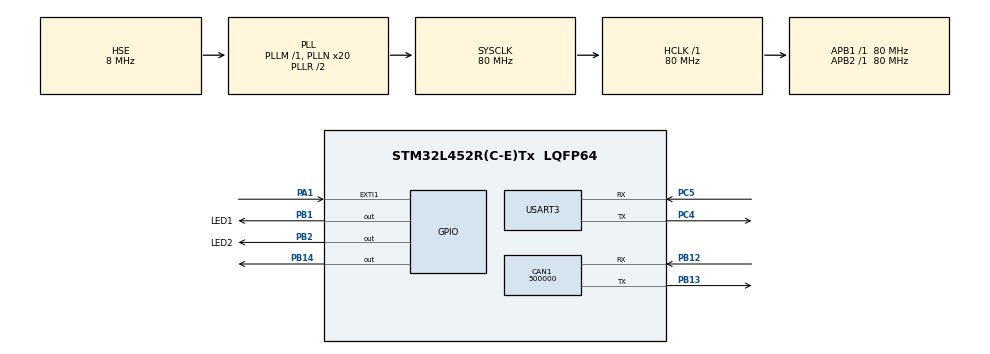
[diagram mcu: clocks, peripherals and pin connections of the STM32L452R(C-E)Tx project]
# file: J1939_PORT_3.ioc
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Mcu.Family=STM32L4
NVIC.USART3_IRQn=true\:0\:0\:false\:false\:true\:true\:true
RCC.MSI_VALUE=4000000
RCC.PLLSourceVirtual=RCC_PLLSOURCE_HSE
NVIC.CAN1_RX1_IRQn=true\:0\:0\:false\:false\:true\:true\:true
RCC.CortexFreq_Value=80000000
PA13\ (JTMS/SWDIO).Mode=Serial_Wire
NVIC.TIM6_DAC_IRQn=true\:0\:0\:false\:false\:true\:true\:true
PH0-OSC_IN\ (PH0).Signal=RCC_OSC_IN
CAN1.CalculateBaudRate=500000
TIM6.Prescaler=8000-1
PC4.Signal=USART3_TX
VP_TIM6_VS_ClockSourceINT.Mode=Enable_Timer
VP_TIM16_VS_ClockSourceINT.Mode=Enable_Timer
PC5.Mode=Asynchronous
PB13.Signal=CAN1_TX
PH1-OSC_OUT\ (PH1).Signal=RCC_OSC_OUT
RCC.SYSCLKSource=RCC_SYSCLKSOURCE_PLLCLK
ProjectManager.StackSize=0x400
USART3.VirtualMode-Asynchronous=VM_ASYNC
PA14\ (JTCK/SWCLK).Signal=SYS_JTCK-SWCLK
NVIC.EXTI1_IRQn=true\:0\:0\:false\:false\:true\:true\:true
CAN1.BS2=CAN_BS2_3TQ
CAN1.BS1=CAN_BS1_6TQ
ProjectManager.TargetToolchain=STM32CubeIDE
NVIC.CAN1_TX_IRQn=true\:0\:0\:false\:false\:true\:true\:true
RCC.HCLKFreq_Value=80000000
RCC.APB2TimFreq_Value=80000000
RCC.USBFreq_Value=32000000
NVIC.CAN1_SCE_IRQn=true\:0\:0\:false\:false\:true\:true\:true
RCC.LSE_VALUE=32768
PA1.Signal=GPXTI1
RCC.AHBFreq_Value=80000000
PB14.Signal=GPIO_Output
PH1-OSC_OUT\ (PH1).Mode=HSE-External-Oscillator
RCC.HSE_VALUE=8000000
PB2.Signal=GPIO_Output
board=custom
RCC.VCOOutputFreq_Value=160000000
RCC.APB2Freq_Value=80000000
PB1.GPIO_Label=LED1
RCC.ADCFreq_Value=32000000
PA14\ (JTCK/SWCLK).Mode=Serial_Wire
TIM6.Period=1000-1
Mcu.Name=STM32L452R(C-E)Tx
RCC.SYSCLKFreq_VALUE=80000000
Mcu.Package=LQFP64
PB1.Signal=GPIO_Output
PB12.Mode=CAN_Activate
PB2.GPIO_Label=LED2
ProjectManager.HeapSize=0x200
RCC.HSI_VALUE=16000000
NVIC.TIM1_UP_TIM16_IRQn=true\:0\:0\:false\:false\:true\:true\:true
NVIC.PriorityGroup=NVIC_PRIORITYGROUP_4
RCC.PLLN=20
RCC.APB1TimFreq_Value=80000000
PC5.Signal=USART3_RX
PB13.Mode=CAN_Activate
TIM16.Prescaler=12-1 
RCC.APB1Freq_Value=80000000
CAN1.CalculateTimeBit=2000.00
PH0-OSC_IN\ (PH0).Mode=HSE-External-Oscillator
PB12.Signal=CAN1_RX
PC4.Mode=Asynchronous
NVIC.CAN1_RX0_IRQn=true\:0\:0\:false\:false\:true\:true\:true
RCC.HSI48_VALUE=48000000
PA13\ (JTMS/SWDIO).Signal=SYS_JTMS-SWDIO
CAN1.CalculateTimeQuantum=200.0

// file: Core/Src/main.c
/* USER CODE BEGIN Header */
/**
 ******************************************************************************
 * @file           : main.c
 * @brief          : Main program body
 ******************************************************************************
 * @attention
 *
 * <h2><center>&copy; Copyright (c) 2021 STMicroelectronics.
 * All rights reserved.</center></h2>
 *
 * This software component is licensed by ST under BSD 3-Clause license,
 * the "License"; You may not use this file except in compliance with the
 * License. You may obtain a copy of the License at:
 *                        opensource.org/licenses/BSD-3-Clause
 *
 ******************************************************************************
 */
/* USER CODE END Header */
#include "main.h"

/* USER CODE BEGIN Includes */
#include "J1939.H"
#include "stdlib.h"
#include "J1939_Config.H"
#include <stdint.h>
#include <stdlib.h>
/* USER CODE END Includes */

/* USER CODE BEGIN PTD */
#define BCU

/* USER CODE END PTD */

CAN_HandleTypeDef hcan1;

TIM_HandleTypeDef htim6;
TIM_HandleTypeDef htim16;

UART_HandleTypeDef huart3;

/* USER CODE BEGIN PV */
uint8_t response_data[8];
char uart_buf[50];
int uart_buf_len;
uint16_t timer_val;
uint16_t ran;
struct Key_Info Key_Infovar;
struct Microcontroller_Status Microcontroller_Statusvar;
uint8_t flag1=1;
uint8_t flag2=1;
uint8_t cnt1=0;
uint8_t count=0;
J1939_MESSAGE Message;

/* USER CODE END PV */

void SystemClock_Config(void);
static void MX_GPIO_Init(void);
static void MX_CAN1_Init(void);
static void MX_TIM6_Init(void);
static void MX_USART3_UART_Init(void);
static void MX_TIM16_Init(void);
/* USER CODE BEGIN PFP */
void dataUPFun();

/* USER CODE END PFP */

/* USER CODE BEGIN 0 */
#ifdef BCU
void sendMsg_KEYINFO()
{

	J1939_MESSAGE _msgKEYINFO;
	//_msgKEYINFO=*Msg;

	//uint8_t buf[]="2";
	_msgKEYINFO.Mxe.DataPage = 0;
	_msgKEYINFO.Mxe.Priority = 0x01;
	_msgKEYINFO.Mxe.DestinationAddress = 0x33;//changed from 33 to 31
	_msgKEYINFO.Mxe.DataLength = 8;
	_msgKEYINFO.Mxe.PDUFormat = 0xf1;
	_msgKEYINFO.Mxe.SourceAddress = 0x33;

		_msgKEYINFO.Mxe.Data[0] = 0;
		_msgKEYINFO.Mxe.Data[1] = 0;
		_msgKEYINFO.Mxe.Data[2] = 0;
		_msgKEYINFO.Mxe.Data[3] = 0;
		_msgKEYINFO.Mxe.Data[4] = 0;
		_msgKEYINFO.Mxe.Data[5] = 0;
		_msgKEYINFO.Mxe.Data[6] = 0;
		_msgKEYINFO.Mxe.Data[7] = 'k';

	//J1939_TP_TX_Message(0xf133, 0xff, buf,1);
	while (J1939_Send_Message(&_msgKEYINFO)!= RC_SUCCESS);

}

void sendMsg_MOTORCONTROLLERCOMMANDS(J1939_MESSAGE *Msg)
{
	J1939_MESSAGE _msgMOTORCONTROLLER_COMMANDS;
	_msgMOTORCONTROLLER_COMMANDS=*Msg;

	//uint8_t buf[]="2";
	_msgMOTORCONTROLLER_COMMANDS.Mxe.DataPage = 0;
	_msgMOTORCONTROLLER_COMMANDS.Mxe.Priority = 0x03;
	_msgMOTORCONTROLLER_COMMANDS.Mxe.DestinationAddress = 0x11;
	_msgMOTORCONTROLLER_COMMANDS.Mxe.DataLength = 8;
	_msgMOTORCONTROLLER_COMMANDS.Mxe.PDUFormat = 0x17;
	_msgMOTORCONTROLLER_COMMANDS.Mxe.SourceAddress = 0x33;
	_msgMOTORCONTROLLER_COMMANDS.Mxe.PGN=0x1700;

	//	_msgMOTORCONTROLLER_COMMANDS.Mxe.Data[0] = 0x05;
	//	_msgMOTORCONTROLLER_COMMANDS.Mxe.Data[1] = 0;
	//	_msgMOTORCONTROLLER_COMMANDS.Mxe.Data[2] = 0;
	//	_msgMOTORCONTROLLER_COMMANDS.Mxe.Data[3] = 0;
	//	_msgMOTORCONTROLLER_COMMANDS.Mxe.Data[4] = 0;
	//	_msgMOTORCONTROLLER_COMMANDS.Mxe.Data[5] = 0;
	//	_msgMOTORCONTROLLER_COMMANDS.Mxe.Data[6] = 0;
	//	_msgMOTORCONTROLLER_COMMANDS.Mxe.Data[7] = '3';

	//J1939_TP_TX_Message(0xf133, 0xff, buf,1);
	while (J1939_Send_Message( &_msgMOTORCONTROLLER_COMMANDS) != RC_SUCCESS);
	HAL_UART_Transmit(&huart3,"send msg from switchmotor\r\n", 30, 1000);

}

void sendMsg_SWITCHINFO(J1939_MESSAGE *Msg)
{

	J1939_MESSAGE _msgSWITCHINFO;
	_msgSWITCHINFO=*Msg;

	//uint8_t buf[]="2";
	_msgSWITCHINFO.Mxe.DataPage = 0;
	_msgSWITCHINFO.Mxe.Priority = 0x03;
	_msgSWITCHINFO.Mxe.DestinationAddress = 0x22;
	_msgSWITCHINFO.Mxe.DataLength = 8;
	_msgSWITCHINFO.Mxe.PDUFormat = 0x15;
	_msgSWITCHINFO.Mxe.SourceAddress = 0x33;

	//	_msgSWITCHINFO.Mxe.Data[0] = 0;
	//	_msgSWITCHINFO.Mxe.Data[1] = 0;
	//	_msgSWITCHINFO.Mxe.Data[2] = 0;
	//	_msgSWITCHINFO.Mxe.Data[3] = 0;
	//	_msgSWITCHINFO.Mxe.Data[4] = 0;
	//	_msgSWITCHINFO.Mxe.Data[5] = 0;
	//	_msgSWITCHINFO.Mxe.Data[6] = 0;
	//	_msgSWITCHINFO.Mxe.Data[7] = 's';

	//J1939_TP_TX_Message(0xf133, 0xff, buf,1);
	while (J1939_Send_Message( &_msgSWITCHINFO) != RC_SUCCESS);
	HAL_UART_Transmit(&huart3,"send msg from switchinfo\r\n", 30, 1000);

}

void readMsg( )
{

	J1939_MESSAGE _msg;

	//		j1939_uint8_t _data[50];
	//		TP_RX_MESSAGE _tp_msg;
	//		uint8_t s;
	//		_tp_msg.data = _data;
	//		_tp_msg.data_num=50;
	//		if(J1939_TP_RX_Message(&_tp_msg)==RC_SUCCESS)
	//		    {
	//
	//		    	   s++;
	//		    }

	if(J1939_Read_Message(&_msg) == RC_SUCCESS)
	{
		//BMS STATUS
		if(_msg.Mxe.PGN == 0xF422)
		{
			uint8_t a;
			a++;

		}
		//MOTORCONTROLLER STATUS
		else if(_msg.Mxe.PGN == 0xF233)
		{
			flag1=0;

		}
		//VCU STATUS
		else if(_msg.Mxe.PGN == 0X100)
		{
			flag2=0;

		}
		else
			;
	}

}
#endif

#ifdef MOTORCONTROLLER
void sendMsg_MOTORCONTROLLERSTATUS(void)
{
	J1939_MESSAGE _msgMOTORCONTROLLERSTATUS;
	//uint8_t buf[]="2";
	_msgMOTORCONTROLLERSTATUS.Mxe.DataPage = 0;
	_msgMOTORCONTROLLERSTATUS.Mxe.Priority = 0x03;
	_msgMOTORCONTROLLERSTATUS.Mxe.DestinationAddress = 0x33;
	_msgMOTORCONTROLLERSTATUS.Mxe.DataLength = 1;
	_msgMOTORCONTROLLERSTATUS.Mxe.PDUFormat = 0xF2;
	_msgMOTORCONTROLLERSTATUS.Mxe.SourceAddress = 0x11;

	_msgMOTORCONTROLLERSTATUS.Mxe.Data[0] = Microcontroller_Statusvar.motorcontroller_state;
	_msgMOTORCONTROLLERSTATUS.Mxe.Data[1] = 0;
	_msgMOTORCONTROLLERSTATUS.Mxe.Data[2] = 0;
	_msgMOTORCONTROLLERSTATUS.Mxe.Data[3] = 0;
	_msgMOTORCONTROLLERSTATUS.Mxe.Data[4] = 0;
	_msgMOTORCONTROLLERSTATUS.Mxe.Data[5] = 0;
	_msgMOTORCONTROLLERSTATUS.Mxe.Data[6] = 0;
	_msgMOTORCONTROLLERSTATUS.Mxe.Data[7] = 0;

	//J1939_TP_TX_Message(0xf133, 0xff, buf,1);
	while (J1939_Send_Message( &_msgMOTORCONTROLLERSTATUS) != RC_SUCCESS);

}

void readMsg( void )
{

	J1939_MESSAGE _msg;

	if(J1939_Read_Message(&_msg) == RC_SUCCESS)
	{
		//KEY_INFO
		if(_msg.Mxe.PGN == 0xF133)
		{
			if(_msg.Mxe.Data[0]==Key_Infovar.Key_In)
			{
				Microcontroller_Statusvar.motorcontroller_state=1;
				//flag1=0;
				sendMsg_MOTORCONTROLLERSTATUS();

			}

		}
		//MOTORCONTROLLER COMMANDS
		else if(_msg.Mxe.PGN == 0x1700)
		{

		}
		//RIDE COMMAND
		else if(_msg.Mxe.PGN == 0x1600)
		{

		}
		else
			;
	}

}

#endif

#ifdef BMS
void sendMsg_BMSSTATUS(void)
{
	J1939_MESSAGE _msgBMSSTATUS;
	//uint8_t buf[]="2";
	_msgBMSSTATUS.Mxe.DataPage = 0;
	_msgBMSSTATUS.Mxe.Priority = 0x03;
	_msgBMSSTATUS.Mxe.DestinationAddress = 0x22;
	_msgBMSSTATUS.Mxe.DataLength = 8;
	_msgBMSSTATUS.Mxe.PDUFormat = 0xF4;
	_msgBMSSTATUS.Mxe.SourceAddress = 0x44;

	_msgBMSSTATUS.Mxe.Data[0] = 0;
	_msgBMSSTATUS.Mxe.Data[1] = 0;
	_msgBMSSTATUS.Mxe.Data[2] = 0;
	_msgBMSSTATUS.Mxe.Data[3] = 0;
	_msgBMSSTATUS.Mxe.Data[4] = 0;
	_msgBMSSTATUS.Mxe.Data[5] = 0;
	_msgBMSSTATUS.Mxe.Data[6] = 0;
	_msgBMSSTATUS.Mxe.Data[7] = 0;

	//J1939_TP_TX_Message(0xf133, 0xff, buf,1);
	while (J1939_Send_Message( &_msgBMSSTATUS) != RC_SUCCESS);
}

void readMsg( void )
{

	J1939_MESSAGE _msg;
	if(J1939_Read_Message(&_msg) == RC_SUCCESS)
	{
		//MOTORCONTROLLER STATUS
		if(_msg.Mxe.PGN == 0xF233)
		{

		}

		else
			;
	}
}
#endif

#ifdef VCU
void sendMsg_RIDECOMMAND(void)
{
	J1939_MESSAGE _msgRIDECOMMAND;
	//uint8_t buf[]="2";
	_msgRIDECOMMAND.Mxe.DataPage = 0;
	_msgRIDECOMMAND.Mxe.Priority = 0x03;
	_msgRIDECOMMAND.Mxe.DestinationAddress = 0x11;
	_msgRIDECOMMAND.Mxe.DataLength = 8;
	_msgRIDECOMMAND.Mxe.PDUFormat = 0x16;
	_msgRIDECOMMAND.Mxe.SourceAddress = 0x22;

	_msgRIDECOMMAND.Mxe.Data[0] = 0;
	_msgRIDECOMMAND.Mxe.Data[1] = 0;
	_msgRIDECOMMAND.Mxe.Data[2] = 0;
	_msgRIDECOMMAND.Mxe.Data[3] = 0;
	_msgRIDECOMMAND.Mxe.Data[4] = 0;
	_msgRIDECOMMAND.Mxe.Data[5] = 0;
	_msgRIDECOMMAND.Mxe.Data[6] = 0;
	_msgRIDECOMMAND.Mxe.Data[7] = 0;

	//J1939_TP_TX_Message(0xf133, 0xff, buf,1);
	while (J1939_Send_Message( &_msgRIDECOMMAND) != RC_SUCCESS);

}

void sendMsg_VCUSTATUS(void)
{
	J1939_MESSAGE _msgVCUSTATUS;
	//uint8_t buf[]="2";
	_msgVCUSTATUS.Mxe.DataPage = 0;
	_msgVCUSTATUS.Mxe.Priority = 0x03;
	_msgVCUSTATUS.Mxe.DestinationAddress = 0x22;
	_msgVCUSTATUS.Mxe.DataLength = 8;
	_msgVCUSTATUS.Mxe.PDUFormat = 0x01;
	_msgVCUSTATUS.Mxe.SourceAddress = 0x22;

	_msgVCUSTATUS.Mxe.Data[0] = 0;
	_msgVCUSTATUS.Mxe.Data[1] = 0;
	_msgVCUSTATUS.Mxe.Data[2] = 0;
	_msgVCUSTATUS.Mxe.Data[3] = 0;
	_msgVCUSTATUS.Mxe.Data[4] = 0;
	_msgVCUSTATUS.Mxe.Data[5] = 0;
	_msgVCUSTATUS.Mxe.Data[6] = 0;
	_msgVCUSTATUS.Mxe.Data[7] = 0;

	//J1939_TP_TX_Message(0xf133, 0xff, buf,1);
	while (J1939_Send_Message(&_msgVCUSTATUS) != RC_SUCCESS);

}

void readMsg( void )
{

	J1939_MESSAGE _msg;

	if(J1939_Read_Message(&_msg) == RC_SUCCESS)
	{
		//BMS STATUS
		if(_msg.Mxe.PGN == 0xF422)
		{

		}
		//KEY INFO
		else if(_msg.Mxe.PGN == 0xF133)
		{

		}
		//MOTORCONTROLLER STATUS
		else if(_msg.Mxe.PGN == 0xF233)
		{

		}
		//SWITCH INFO
		else if(_msg.Mxe.PGN == 0x1500)
		{

		}

		else
			;

	}
}

#endif

/* USER CODE END 0 */

int main(void)
{

  /* MCU Configuration--------------------------------------------------------*/

  /* Reset of all peripherals, Initializes the Flash interface and the Systick. */
  HAL_Init();

  /* USER CODE BEGIN Init */

#ifdef MOTORCONTROLLER

	Microcontroller_Statusvar.motorcontroller_state=0;
	Key_Infovar.Key_In=1;
#endif

#ifdef BMS

#endif

#ifdef VCU

#endif
  /* USER CODE END Init */

  /* Configure the system clock */
  SystemClock_Config();

  /* Initialize all configured peripherals */
  MX_GPIO_Init();
  MX_CAN1_Init();
  MX_TIM6_Init();
  MX_USART3_UART_Init();
  MX_TIM16_Init();
  /* USER CODE BEGIN 2 */
	HAL_GPIO_WritePin(GPIOB,GPIO_PIN_14,0);
	// HAL_CAN_ActivateNotification(&hcan1,CAN_IT_RX_FIFO0_MSG_PENDING|CAN_IT_ERROR);
	J1939_SetAddressFilter();
	if(HAL_CAN_Start(&hcan1)!=HAL_OK)
	{
		HAL_UART_Transmit(&huart3,"error in can_start\n\r", 20, 1000);
		Error_Handler();

	}
	J1939_Initialization();
	//HAL_TIM_Base_Start(&htim6);
	//   HAL_TIM_Base_Start(&htim16);

  /* USER CODE END 2 */

  /* Infinite loop */
  /* USER CODE BEGIN WHILE */
#ifdef BCU
	Key_Infovar.Key_In=1;
	Key_Infovar.Key_Off=0;
	Microcontroller_Statusvar.motorcontroller_state=0;
#endif

#ifdef MOTORCONTROLLER
	// sendMsg_MOTORCONTROLLERSTATUS();
	//readMsg();

#endif

#ifdef BMS
	sendMsg_BMSSTATUS();

#endif
#ifdef VCU
	sendMsg_RIDECOMMAND();
	sendMsg_VCUSTATUS();

#endif
	while (1)
	{

#ifdef BCU

//		//HAL_TIM_Base_Start(&htim16);
//		//HAL_TIM_Base_Start_IT(&htim6);
//		while(flag1)
//		{
//			//sendMsg_KEYINFO();
//			readMsg();
//			J1939_Poll( );
//		}
//
//		HAL_TIM_Base_Start_IT(&htim6);
//		if(flag1==0)
//		{
//			//	  if(cnt1<=2)
//			//	  {
//			//	  sendMsg_MOTORCONTROLLERCOMMANDS();
//			//	  //J1939_Poll( );
//			//	  cnt1++;
//			//	  }
//			//  HAL_TIM_Base_Start_IT(&htim6);
//			//
		sendMsg_KEYINFO();
			readMsg();
			HAL_Delay(15);
			J1939_Poll( );
		//}

#endif

#ifdef MOTORCONTROLLER

		readMsg();
		HAL_Delay(15);
		J1939_Poll( );
#endif

#ifdef BMS

		readMsg();
		HAL_Delay(15);
		J1939_Poll( );
#endif

		//sendMsg_KEYINFO();
		//	  	sendMsg_MOTORCONTROLLERCOMMANDS();
		//	  	sendMsg_SWITCHINFO();
		//sendMsg_MOTORCONTROLLERSTATUS();
		//sendMsg_BMSSTATUS();
		//readMsg();
		// J1939_Request_PGN(0xf1,0x12);
		//  timer_val = __HAL_TIM_GET_COUNTER(&htim6);
		// J1939_Create_Response(&response_data,4,0xf1,dataUPFun);
		//HAL_Delay(15);
		//  J1939_Response(0xf1);
		//HAL_Delay(15);
		// J1939_Poll( );
		//        timer_val = __HAL_TIM_GET_COUNTER(&htim6) - timer_val;
		//    uart_buf_len = sprintf(uart_buf, "%u us\r\n", timer_val);
		//	    HAL_UART_Transmit(&huart3, (uint8_t *)uart_buf, uart_buf_len, 100);
    /* USER CODE END WHILE */

	}
}

void SystemClock_Config(void)
{
  RCC_OscInitTypeDef RCC_OscInitStruct = {0};
  RCC_ClkInitTypeDef RCC_ClkInitStruct = {0};
  RCC_PeriphCLKInitTypeDef PeriphClkInit = {0};

  /** Initializes the RCC Oscillators according to the specified parameters
  * in the RCC_OscInitTypeDef structure.
  */
  RCC_OscInitStruct.OscillatorType = RCC_OSCILLATORTYPE_HSE;
  RCC_OscInitStruct.HSEState = RCC_HSE_ON;
  RCC_OscInitStruct.PLL.PLLState = RCC_PLL_ON;
  RCC_OscInitStruct.PLL.PLLSource = RCC_PLLSOURCE_HSE;
  RCC_OscInitStruct.PLL.PLLM = 1;
  RCC_OscInitStruct.PLL.PLLN = 20;
  RCC_OscInitStruct.PLL.PLLP = RCC_PLLP_DIV7;
  RCC_OscInitStruct.PLL.PLLQ = RCC_PLLQ_DIV2;
  RCC_OscInitStruct.PLL.PLLR = RCC_PLLR_DIV2;
  if (HAL_RCC_OscConfig(&RCC_OscInitStruct) != HAL_OK)
  {
    Error_Handler();
  }
  /** Initializes the CPU, AHB and APB buses clocks
  */
  RCC_ClkInitStruct.ClockType = RCC_CLOCKTYPE_HCLK|RCC_CLOCKTYPE_SYSCLK
                              |RCC_CLOCKTYPE_PCLK1|RCC_CLOCKTYPE_PCLK2;
  RCC_ClkInitStruct.SYSCLKSource = RCC_SYSCLKSOURCE_PLLCLK;
  RCC_ClkInitStruct.AHBCLKDivider = RCC_SYSCLK_DIV1;
  RCC_ClkInitStruct.APB1CLKDivider = RCC_HCLK_DIV1;
  RCC_ClkInitStruct.APB2CLKDivider = RCC_HCLK_DIV1;

  if (HAL_RCC_ClockConfig(&RCC_ClkInitStruct, FLASH_LATENCY_4) != HAL_OK)
  {
    Error_Handler();
  }
  PeriphClkInit.PeriphClockSelection = RCC_PERIPHCLK_USART3;
  PeriphClkInit.Usart3ClockSelection = RCC_USART3CLKSOURCE_PCLK1;
  if (HAL_RCCEx_PeriphCLKConfig(&PeriphClkInit) != HAL_OK)
  {
    Error_Handler();
  }
  /** Configure the main internal regulator output voltage
  */
  if (HAL_PWREx_ControlVoltageScaling(PWR_REGULATOR_VOLTAGE_SCALE1) != HAL_OK)
  {
    Error_Handler();
  }
}

static void MX_CAN1_Init(void)
{

  hcan1.Instance = CAN1;
  hcan1.Init.Prescaler = 16;
  hcan1.Init.Mode = CAN_MODE_NORMAL;
  hcan1.Init.SyncJumpWidth = CAN_SJW_1TQ;
  hcan1.Init.TimeSeg1 = CAN_BS1_6TQ;
  hcan1.Init.TimeSeg2 = CAN_BS2_3TQ;
  hcan1.Init.TimeTriggeredMode = DISABLE;
  hcan1.Init.AutoBusOff = DISABLE;
  hcan1.Init.AutoWakeUp = DISABLE;
  hcan1.Init.AutoRetransmission = DISABLE;
  hcan1.Init.ReceiveFifoLocked = DISABLE;
  hcan1.Init.TransmitFifoPriority = DISABLE;
  if (HAL_CAN_Init(&hcan1) != HAL_OK)
  {
    Error_Handler();
  }

}

static void MX_TIM6_Init(void)
{

  TIM_MasterConfigTypeDef sMasterConfig = {0};

  htim6.Instance = TIM6;
  htim6.Init.Prescaler = 8000-1;
  htim6.Init.CounterMode = TIM_COUNTERMODE_UP;
  htim6.Init.Period = 1000-1;
  htim6.Init.AutoReloadPreload = TIM_AUTORELOAD_PRELOAD_DISABLE;
  if (HAL_TIM_Base_Init(&htim6) != HAL_OK)
  {
    Error_Handler();
  }
  sMasterConfig.MasterOutputTrigger = TIM_TRGO_RESET;
  sMasterConfig.MasterSlaveMode = TIM_MASTERSLAVEMODE_DISABLE;
  if (HAL_TIMEx_MasterConfigSynchronization(&htim6, &sMasterConfig) != HAL_OK)
  {
    Error_Handler();
  }

}

static void MX_TIM16_Init(void)
{

  htim16.Instance = TIM16;
  htim16.Init.Prescaler = 12-1 ;
  htim16.Init.CounterMode = TIM_COUNTERMODE_UP;
  htim16.Init.Period = 65535;
  htim16.Init.ClockDivision = TIM_CLOCKDIVISION_DIV1;
  htim16.Init.RepetitionCounter = 0;
  htim16.Init.AutoReloadPreload = TIM_AUTORELOAD_PRELOAD_DISABLE;
  if (HAL_TIM_Base_Init(&htim16) != HAL_OK)
  {
    Error_Handler();
  }

}

static void MX_USART3_UART_Init(void)
{

  huart3.Instance = USART3;
  huart3.Init.BaudRate = 115200;
  huart3.Init.WordLength = UART_WORDLENGTH_8B;
  huart3.Init.StopBits = UART_STOPBITS_1;
  huart3.Init.Parity = UART_PARITY_NONE;
  huart3.Init.Mode = UART_MODE_TX_RX;
  huart3.Init.HwFlowCtl = UART_HWCONTROL_NONE;
  huart3.Init.OverSampling = UART_OVERSAMPLING_16;
  huart3.Init.OneBitSampling = UART_ONE_BIT_SAMPLE_DISABLE;
  huart3.AdvancedInit.AdvFeatureInit = UART_ADVFEATURE_NO_INIT;
  if (HAL_UART_Init(&huart3) != HAL_OK)
  {
    Error_Handler();
  }

}

static void MX_GPIO_Init(void)
{
  GPIO_InitTypeDef GPIO_InitStruct = {0};

  /* GPIO Ports Clock Enable */
  __HAL_RCC_GPIOH_CLK_ENABLE();
  __HAL_RCC_GPIOA_CLK_ENABLE();
  __HAL_RCC_GPIOC_CLK_ENABLE();
  __HAL_RCC_GPIOB_CLK_ENABLE();

  /*Configure GPIO pin Output Level */
  HAL_GPIO_WritePin(GPIOB, LED1_Pin|LED2_Pin|GPIO_PIN_14, GPIO_PIN_RESET);

  /*Configure GPIO pin : PA1 */
  GPIO_InitStruct.Pin = GPIO_PIN_1;
  GPIO_InitStruct.Mode = GPIO_MODE_IT_RISING;
  GPIO_InitStruct.Pull = GPIO_NOPULL;
  HAL_GPIO_Init(GPIOA, &GPIO_InitStruct);

  /*Configure GPIO pins : LED1_Pin LED2_Pin PB14 */
  GPIO_InitStruct.Pin = LED1_Pin|LED2_Pin|GPIO_PIN_14;
  GPIO_InitStruct.Mode = GPIO_MODE_OUTPUT_PP;
  GPIO_InitStruct.Pull = GPIO_NOPULL;
  GPIO_InitStruct.Speed = GPIO_SPEED_FREQ_LOW;
  HAL_GPIO_Init(GPIOB, &GPIO_InitStruct);

  /* EXTI interrupt init*/
  HAL_NVIC_SetPriority(EXTI1_IRQn, 0, 0);
  HAL_NVIC_EnableIRQ(EXTI1_IRQn);

}

/* USER CODE BEGIN 4 */

void HAL_TIM_PeriodElapsedCallback(TIM_HandleTypeDef *htim)
{
#ifdef BCU
	sendMsg_SWITCHINFO(&Message);
	//	Message.Mxe.Data=0;
	//	memset();
	//	if(cnt1>0)
	//	{
	//	cnt1--;
	//	}
	if(cnt1<=2)
	{
		sendMsg_MOTORCONTROLLERCOMMANDS(&Message);
		//J1939_Poll( );
		//cnt1++;
	}
	cnt1++;
	J1939_Poll( );
#endif

}

void HAL_GPIO_EXTI_Callback(uint16_t GPIO_PIN)
{
	count++;//odd num on even off the key
	if(count%2==1)
	{
		Key_Infovar.Key_Off=0;
		Key_Infovar.Key_In=1;
		Message.Mxe.Data[0]=0x02;
		sendMsg_KEYINFO(&Message);

	}
	else
	{
		//send message to all units
		Key_Infovar.Key_Off=1;
		Key_Infovar.Key_In=0;
		Message.Mxe.Data[0]=0x01;
		sendMsg_KEYINFO(&Message);
	}
	if(count>=254)
		count=0;

	__NVIC_ClearPendingIRQ(EXTI1_IRQn);// key bouncing will not happen with this line

}
/* USER CODE END 4 */

void Error_Handler(void)
{
	__disable_irq();
	while (1)
	{
	}
}

/************************ (C) COPYRIGHT STMicroelectronics *****END OF FILE****/
